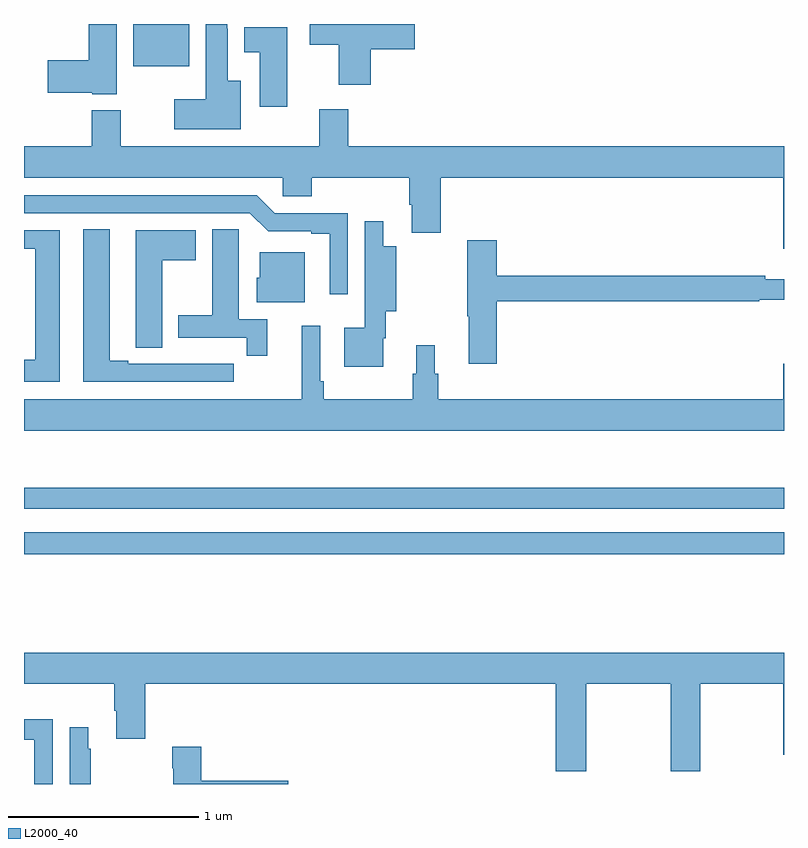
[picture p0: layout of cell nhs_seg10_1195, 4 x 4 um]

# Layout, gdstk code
import gdstk
lib = gdstk.Library(unit=1e-6, precision=1e-09)
def R(c, l, rs):  # rectangles x0, y0, x1, y1
    for r in rs: c.add(gdstk.rectangle(r[:2], r[2:], *l))
def P(c, l, *ps):  # polygons
    for p in ps: c.add(gdstk.Polygon(p, *l))
L2000_40 = (2000, 40)

nhs_seg10_1195 = lib.new_cell('nhs_seg10_1195')
R(nhs_seg10_1195, L2000_40, [(173,1255.708,177,1255.824), (173,1255.95,177,1256.059), (173.576,1258.277,173.869,1258.5)])
P(nhs_seg10_1195, L2000_40, [(173.488,1258.5),(173.342,1258.5),(173.342,1258.31),(173.124,1258.31),(173.124,1258.139),(173.358,1258.139),(173.358,1258.13),(173.488,1258.13)],
  [(174.824,1258.367),(175.057,1258.367),(175.057,1258.5),(174.504,1258.5),(174.504,1258.39),(174.656,1258.39),(174.656,1258.179),(174.824,1258.179)],
  [(174.142,1258.201),(174.073,1258.201),(174.073,1258.475),(174.069,1258.475),(174.069,1258.5),(173.957,1258.5),(173.957,1258.105),(173.79,1258.105),(173.79,1257.947),(174.142,1257.947)],
  [(174.385,1258.483),(174.158,1258.483),(174.158,1258.352),(174.242,1258.352),(174.242,1258.065),(174.385,1258.065)],
  [(177,1257.856),(174.707,1257.856),(174.707,1258.051),(174.554,1258.051),(174.554,1257.856),(173.509,1257.856),(173.509,1258.045),(173.357,1258.045),(173.357,1257.856),(173,1257.856),(173,1257.692),(174.363,1257.692),(174.363,1257.594),(174.515,1257.594),(174.515,1257.692),(175.028,1257.692),(175.028,1257.55),(175.04,1257.55),(175.04,1257.402),(175.193,1257.402),(175.193,1257.692),(176.996,1257.692),(176.996,1257.318),(177,1257.318)],
  [(174.705,1257.504),(174.321,1257.504),(174.225,1257.6),(173,1257.6),(173,1257.504),(174.189,1257.504),(174.285,1257.408),(174.512,1257.408),(174.512,1257.396),(174.608,1257.396),(174.608,1257.078),(174.705,1257.078)],
  [(174.891,1256.846),(174.904,1256.846),(174.904,1256.987),(174.96,1256.987),(174.96,1257.331),(174.892,1257.331),(174.892,1257.463),(174.794,1257.463),(174.794,1257.227),(174.793,1257.227),(174.793,1256.902),(174.686,1256.902),(174.686,1256.696),(174.891,1256.696)],
  [(174.281,1256.946),(174.13,1256.946),(174.13,1257.308),(174.129,1257.308),(174.129,1257.419),(173.99,1257.419),(173.99,1256.967),(173.813,1256.967),(173.813,1256.85),(174.172,1256.85),(174.172,1256.754),(174.281,1256.754)],
  [(174.103,1256.712),(173.99,1256.712),(173.99,1256.713),(173.824,1256.713),(173.824,1256.712),(173.548,1256.712),(173.548,1256.727),(173.452,1256.727),(173.452,1257.419),(173.312,1257.419),(173.312,1256.616),(174.103,1256.616)],
  [(173.728,1257.256),(173.905,1257.256),(173.905,1257.415),(173.588,1257.415),(173.588,1256.905),(173.589,1256.905),(173.589,1256.797),(173.728,1256.797)],
  [(173.188,1257.414),(173,1257.414),(173,1257.318),(173.06,1257.318),(173.06,1256.732),(173,1256.732),(173,1256.616),(173.188,1256.616)],
  [(175.487,1257.04),(176.87,1257.04),(176.87,1257.048),(177,1257.048),(177,1257.157),(176.9,1257.157),(176.9,1257.176),(175.487,1257.176),(175.487,1257.361),(175.333,1257.361),(175.333,1256.963),(175.34,1256.963),(175.34,1256.712),(175.487,1256.712)],
  [(174.478,1257.298),(174.242,1257.298),(174.242,1257.165),(174.224,1257.165),(174.224,1257.035),(174.478,1257.035)],
  [(177,1256.713),(176.996,1256.713),(176.996,1256.524),(175.181,1256.524),(175.181,1256.658),(175.162,1256.658),(175.162,1256.809),(175.064,1256.809),(175.064,1256.658),(175.045,1256.658),(175.045,1256.524),(174.578,1256.524),(174.578,1256.62),(174.558,1256.62),(174.558,1256.911),(174.461,1256.911),(174.461,1256.524),(173,1256.524),(173,1256.36),(177,1256.36)],
  [(175.959,1255.028),(176.404,1255.028),(176.404,1254.567),(176.559,1254.567),(176.559,1255.028),(176.996,1255.028),(176.996,1254.654),(177,1254.654),(177,1255.192),(173,1255.192),(173,1255.028),(173.474,1255.028),(173.474,1254.886),(173.486,1254.886),(173.486,1254.738),(173.639,1254.738),(173.639,1255.028),(175.799,1255.028),(175.799,1254.567),(175.959,1254.567)],
  [(173.151,1254.84),(173,1254.84),(173,1254.732),(173.054,1254.732),(173.054,1254.5),(173.151,1254.5)],
  [(173.35,1254.686),(173.338,1254.686),(173.338,1254.799),(173.241,1254.799),(173.241,1254.5),(173.35,1254.5)],
  [(174.391,1254.518),(173.933,1254.518),(173.933,1254.697),(173.779,1254.697),(173.779,1254.584),(173.786,1254.584),(173.786,1254.5),(174.391,1254.5)])

lib.write_gds('nhs_seg10_1195.gds')
